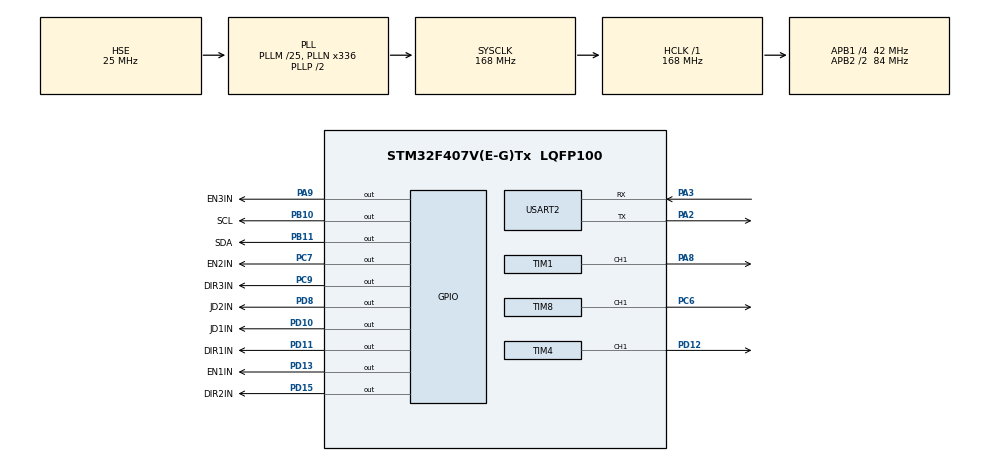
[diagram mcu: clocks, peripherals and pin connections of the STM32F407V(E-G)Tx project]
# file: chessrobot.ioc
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FREERTOS.Tasks01=defaultTask,0,128,StartDefaultTask,Default,NULL,Dynamic,NULL,NULL;OLED_TASK,-2,128,Oled_task,Default,NULL,Dynamic,NULL,NULL;MOTOR_TASK,1,128,Motor_task,Default,NULL,Dynamic,NULL,NULL;SERIAL_TASK,2,128,Serial_task,Default,NULL,Dynamic,NULL,NULL
Mcu.Family=STM32F4
Mcu.Name=STM32F407V(E-G)Tx
Mcu.Package=LQFP100
NVIC.PriorityGroup=NVIC_PRIORITYGROUP_4
NVIC.TIM1_UP_TIM10_IRQn=true\:5\:0\:false\:false\:true\:true\:true\:true\:true
NVIC.TIM4_IRQn=true\:5\:0\:false\:false\:true\:true\:true\:true\:true
NVIC.TIM8_TRG_COM_TIM14_IRQn=true\:5\:0\:false\:false\:true\:false\:false\:true\:true
NVIC.TIM8_UP_TIM13_IRQn=true\:5\:0\:false\:false\:true\:true\:true\:true\:true
NVIC.TimeBase=TIM8_TRG_COM_TIM14_IRQn
NVIC.TimeBaseIP=TIM14
NVIC.USART2_IRQn=true\:5\:0\:false\:false\:true\:true\:true\:true\:true
PA13.Mode=Serial_Wire
PA13.Signal=SYS_JTMS-SWDIO
PA14.Mode=Serial_Wire
PA14.Signal=SYS_JTCK-SWCLK
PA2.Mode=Asynchronous
PA2.Signal=USART2_TX
PA3.Mode=Asynchronous
PA3.Signal=USART2_RX
PA8.Signal=S_TIM1_CH1
PA9.GPIO_Label=EN3IN
PA9.GPIO_Speed=GPIO_SPEED_FREQ_MEDIUM
PA9.Signal=GPIO_Output
PB10.GPIO_Label=SCL
PB10.GPIO_ModeDefaultOutputPP=GPIO_MODE_OUTPUT_OD
PB10.GPIO_PuPd=GPIO_PULLUP
PB10.GPIO_Speed=GPIO_SPEED_FREQ_MEDIUM
PB10.Signal=GPIO_Output
PB11.GPIO_Label=SDA
PB11.GPIO_ModeDefaultOutputPP=GPIO_MODE_OUTPUT_OD
PB11.GPIO_PuPd=GPIO_PULLUP
PB11.GPIO_Speed=GPIO_SPEED_FREQ_MEDIUM
PB11.Signal=GPIO_Output
PC14-OSC32_IN.Mode=LSE-External-Oscillator
PC14-OSC32_IN.Signal=RCC_OSC32_IN
PC15-OSC32_OUT.Mode=LSE-External-Oscillator
PC15-OSC32_OUT.Signal=RCC_OSC32_OUT
PC6.Signal=S_TIM8_CH1
PC7.GPIO_Label=EN2IN
PC7.GPIO_Speed=GPIO_SPEED_FREQ_MEDIUM
PC7.Signal=GPIO_Output
PC9.GPIO_Label=DIR3IN
PC9.GPIO_Speed=GPIO_SPEED_FREQ_MEDIUM
PC9.Signal=GPIO_Output
PD10.GPIO_Label=JD1IN
PD10.Signal=GPIO_Output
PD11.GPIO_Label=DIR1IN
PD11.GPIO_Speed=GPIO_SPEED_FREQ_MEDIUM
PD11.Signal=GPIO_Output
PD12.Signal=S_TIM4_CH1
PD13.GPIO_Label=EN1IN
PD13.GPIO_Speed=GPIO_SPEED_FREQ_MEDIUM
PD13.Signal=GPIO_Output
PD15.GPIO_Label=DIR2IN
PD15.GPIO_Speed=GPIO_SPEED_FREQ_MEDIUM
PD15.Signal=GPIO_Output
PD8.GPIO_Label=JD2IN
PD8.Signal=GPIO_Output
PH0-OSC_IN.Mode=HSE-External-Oscillator
PH0-OSC_IN.Signal=RCC_OSC_IN
PH1-OSC_OUT.Mode=HSE-External-Oscillator
PH1-OSC_OUT.Signal=RCC_OSC_OUT
ProjectManager.HeapSize=0x200
ProjectManager.StackSize=0x400
ProjectManager.TargetToolchain=MDK-ARM V5.32
RCC.48MHZClocksFreq_Value=48000000
RCC.AHBFreq_Value=168000000
RCC.APB1CLKDivider=RCC_HCLK_DIV4
RCC.APB1Freq_Value=42000000
RCC.APB1TimFreq_Value=84000000
RCC.APB2CLKDivider=RCC_HCLK_DIV2
RCC.APB2Freq_Value=84000000
RCC.APB2TimFreq_Value=168000000
RCC.CortexFreq_Value=168000000
RCC.HCLKFreq_Value=168000000
RCC.HSE_VALUE=25000000
RCC.HSI_VALUE=16000000
RCC.PLLM=25
RCC.PLLN=336
RCC.PLLQ=7
RCC.PLLSourceVirtual=RCC_PLLSOURCE_HSE
RCC.SYSCLKFreq_VALUE=168000000
RCC.SYSCLKSource=RCC_SYSCLKSOURCE_PLLCLK
RCC.VCOOutputFreq_Value=336000000
SH.S_TIM1_CH1.0=TIM1_CH1,PWM Generation1 CH1
SH.S_TIM4_CH1.0=TIM4_CH1,PWM Generation1 CH1
SH.S_TIM8_CH1.0=TIM8_CH1,PWM Generation1 CH1
TIM1.AutoReloadPreload=TIM_AUTORELOAD_PRELOAD_ENABLE
TIM1.Channel-PWM\ Generation1\ CH1=TIM_CHANNEL_1
TIM1.Period=10000-1
TIM1.Prescaler=168-1
TIM4.AutoReloadPreload=TIM_AUTORELOAD_PRELOAD_ENABLE
TIM4.Channel-PWM\ Generation1\ CH1=TIM_CHANNEL_1
TIM4.Prescaler=168-1
TIM8.AutoReloadPreload=TIM_AUTORELOAD_PRELOAD_ENABLE
TIM8.Channel-PWM\ Generation1\ CH1=TIM_CHANNEL_1
TIM8.Period=10000-1
TIM8.Prescaler=168-1
USART2.VirtualMode=VM_ASYNC
VP_FREERTOS_VS_CMSIS_V1.Mode=CMSIS_V1
VP_SYS_VS_tim14.Mode=TIM14
VP_TIM1_VS_ClockSourceINT.Mode=Internal
VP_TIM4_VS_ClockSourceINT.Mode=Internal
VP_TIM8_VS_ClockSourceINT.Mode=Internal
board=custom

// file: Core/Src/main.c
/* USER CODE BEGIN Header */
/**
  ******************************************************************************
  * @file           : main.c
  * @brief          : Main program body
  ******************************************************************************
  * @attention
  *
  * Copyright (c) 2025 STMicroelectronics.
  * All rights reserved.
  *
  * This software is licensed under terms that can be found in the LICENSE file
  * in the root directory of this software component.
  * If no LICENSE file comes with this software, it is provided AS-IS.
  *
  ******************************************************************************
  */
/* USER CODE END Header */
#include "main.h"
#include "cmsis_os.h"
#include "tim.h"
#include "usart.h"
#include "gpio.h"

void SystemClock_Config(void);
void MX_FREERTOS_Init(void);

int main(void)
{

  /* MCU Configuration--------------------------------------------------------*/

  /* Reset of all peripherals, Initializes the Flash interface and the Systick. */
  HAL_Init();

  /* Configure the system clock */
  SystemClock_Config();

  /* Initialize all configured peripherals */
  MX_GPIO_Init();
  MX_USART2_UART_Init();
  MX_TIM4_Init();
  MX_TIM1_Init();
  MX_TIM8_Init();
  /* USER CODE BEGIN 2 */
  //HAL_UART_Transmit(&huart2, (uint8_t*)"\x02", 1, HAL_MAX_DELAY);
  // HAL_UART_Receive_IT(&huart2,&rx_buffer,1);
  /* USER CODE END 2 */

  /* Call init function for freertos objects (in cmsis_os2.c) */
  MX_FREERTOS_Init();

  /* Start scheduler */
  osKernelStart();

  /* We should never get here as control is now taken by the scheduler */

  /* Infinite loop */
  while (1)
  {

  }
}

void SystemClock_Config(void)
{
  RCC_OscInitTypeDef RCC_OscInitStruct = {0};
  RCC_ClkInitTypeDef RCC_ClkInitStruct = {0};

  /** Configure the main internal regulator output voltage
  */
  __HAL_RCC_PWR_CLK_ENABLE();
  __HAL_PWR_VOLTAGESCALING_CONFIG(PWR_REGULATOR_VOLTAGE_SCALE1);

  /** Initializes the RCC Oscillators according to the specified parameters
  * in the RCC_OscInitTypeDef structure.
  */
  RCC_OscInitStruct.OscillatorType = RCC_OSCILLATORTYPE_HSE;
  RCC_OscInitStruct.HSEState = RCC_HSE_ON;
  RCC_OscInitStruct.PLL.PLLState = RCC_PLL_ON;
  RCC_OscInitStruct.PLL.PLLSource = RCC_PLLSOURCE_HSE;
  RCC_OscInitStruct.PLL.PLLM = 25;
  RCC_OscInitStruct.PLL.PLLN = 336;
  RCC_OscInitStruct.PLL.PLLP = RCC_PLLP_DIV2;
  RCC_OscInitStruct.PLL.PLLQ = 7;
  if (HAL_RCC_OscConfig(&RCC_OscInitStruct) != HAL_OK)
  {
    Error_Handler();
  }

  /** Initializes the CPU, AHB and APB buses clocks
  */
  RCC_ClkInitStruct.ClockType = RCC_CLOCKTYPE_HCLK|RCC_CLOCKTYPE_SYSCLK
                              |RCC_CLOCKTYPE_PCLK1|RCC_CLOCKTYPE_PCLK2;
  RCC_ClkInitStruct.SYSCLKSource = RCC_SYSCLKSOURCE_PLLCLK;
  RCC_ClkInitStruct.AHBCLKDivider = RCC_SYSCLK_DIV1;
  RCC_ClkInitStruct.APB1CLKDivider = RCC_HCLK_DIV4;
  RCC_ClkInitStruct.APB2CLKDivider = RCC_HCLK_DIV2;

  if (HAL_RCC_ClockConfig(&RCC_ClkInitStruct, FLASH_LATENCY_5) != HAL_OK)
  {
    Error_Handler();
  }
}

void HAL_TIM_PeriodElapsedCallback(TIM_HandleTypeDef *htim)
{
  if (htim->Instance == TIM14)
  {
    HAL_IncTick();
  }
}

void Error_Handler(void)
{
  __disable_irq();
  while (1)
  {
  }
}

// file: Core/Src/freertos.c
/* USER CODE BEGIN Header */
/**
  ******************************************************************************
  * File Name          : freertos.c
  * Description        : Code for freertos applications
  ******************************************************************************
  * @attention
  *
  * Copyright (c) 2025 STMicroelectronics.
  * All rights reserved.
  *
  * This software is licensed under terms that can be found in the LICENSE file
  * in the root directory of this software component.
  * If no LICENSE file comes with this software, it is provided AS-IS.
  *
  ******************************************************************************
  */
/* USER CODE END Header */

#include "FreeRTOS.h"
#include "task.h"
#include "main.h"
#include "cmsis_os.h"

/* USER CODE BEGIN Includes */
#include "H_Oled.h"
#include "tim.h"
#include "usart.h"
/* USER CODE END Includes */

/* USER CODE BEGIN PM */
uint8_t rx_buffer=1;
uint8_t byteNumber=5;
/* USER CODE END PM */

osThreadId defaultTaskHandle;
osThreadId OLED_TASKHandle;
osThreadId MOTOR_TASKHandle;
osThreadId SERIAL_TASKHandle;

void StartDefaultTask(void const * argument);
void Oled_task(void const * argument);
void Motor_task(void const * argument);
void Serial_task(void const * argument);

void MX_FREERTOS_Init(void); /* (MISRA C 2004 rule 8.1) */

/* GetIdleTaskMemory prototype (linked to static allocation support) */
void vApplicationGetIdleTaskMemory( StaticTask_t **ppxIdleTaskTCBBuffer, StackType_t **ppxIdleTaskStackBuffer, uint32_t *pulIdleTaskStackSize );

/* USER CODE BEGIN GET_IDLE_TASK_MEMORY */
static StaticTask_t xIdleTaskTCBBuffer;
static StackType_t xIdleStack[configMINIMAL_STACK_SIZE];

void vApplicationGetIdleTaskMemory( StaticTask_t **ppxIdleTaskTCBBuffer, StackType_t **ppxIdleTaskStackBuffer, uint32_t *pulIdleTaskStackSize )
{
  *ppxIdleTaskTCBBuffer = &xIdleTaskTCBBuffer;
  *ppxIdleTaskStackBuffer = &xIdleStack[0];
  *pulIdleTaskStackSize = configMINIMAL_STACK_SIZE;
  /* place for user code */
}
/* USER CODE END GET_IDLE_TASK_MEMORY */

void MX_FREERTOS_Init(void) {

  /* Create the thread(s) */
  /* definition and creation of defaultTask */
  osThreadDef(defaultTask, StartDefaultTask, osPriorityNormal, 0, 128);
  defaultTaskHandle = osThreadCreate(osThread(defaultTask), NULL);

  /* definition and creation of OLED_TASK */
  osThreadDef(OLED_TASK, Oled_task, osPriorityLow, 0, 128);
  OLED_TASKHandle = osThreadCreate(osThread(OLED_TASK), NULL);

  /* definition and creation of MOTOR_TASK */
  osThreadDef(MOTOR_TASK, Motor_task, osPriorityAboveNormal, 0, 128);
  MOTOR_TASKHandle = osThreadCreate(osThread(MOTOR_TASK), NULL);

  /* definition and creation of SERIAL_TASK */
  osThreadDef(SERIAL_TASK, Serial_task, osPriorityHigh, 0, 128);
  SERIAL_TASKHandle = osThreadCreate(osThread(SERIAL_TASK), NULL);

}

void StartDefaultTask(void const * argument)
{
  for(;;)
  {
    osDelay(1);
  }
}

void Oled_task(void const * argument)
{
  /* USER CODE BEGIN Oled_task */
  OLED_Init();
  OLED_Clear();
  int temp=0;
  /* Infinite loop */
  for(;;)
  {
    temp++;
    OLED_ShowNum(1,1,temp,3);
    osDelay(50);
  }
  /* USER CODE END Oled_task */
}

void Motor_task(void const * argument)
{
  /* USER CODE BEGIN Motor_task */
   //电机一启用方向正
  HAL_GPIO_WritePin(GPIOA,GPIO_PIN_9,GPIO_PIN_SET);
  HAL_GPIO_WritePin(GPIOC,GPIO_PIN_9,GPIO_PIN_RESET);
  //电机二启用方向正
  HAL_GPIO_WritePin(GPIOC,GPIO_PIN_7,GPIO_PIN_SET);
  HAL_GPIO_WritePin(GPIOD,GPIO_PIN_15,GPIO_PIN_RESET);
  //电机三启用方向正
  HAL_GPIO_WritePin(GPIOD,GPIO_PIN_13,GPIO_PIN_SET);
  HAL_GPIO_WritePin(GPIOD,GPIO_PIN_11,GPIO_PIN_RESET);
  __HAL_TIM_SET_COMPARE(&htim4,TIM_CHANNEL_1,5000);
  __HAL_TIM_SET_COMPARE(&htim1,TIM_CHANNEL_1,5000);
  __HAL_TIM_SET_COMPARE(&htim8,TIM_CHANNEL_1,5000);

  HAL_TIM_PWM_Start(&htim4,TIM_CHANNEL_1);
  HAL_TIM_PWM_Start(&htim1,TIM_CHANNEL_1);
  HAL_TIM_PWM_Start(&htim8,TIM_CHANNEL_1);
  /* Infinite loop */
  for(;;)
  {
    osDelay(5);
  }
  /* USER CODE END Motor_task */
}

void Serial_task(void const * argument)
{
  /* USER CODE BEGIN Serial_task */

  //HAL_UART_Receive_IT(&huart2,&rx_buffer,1);
  /* Infinite loop */
  for(;;)
  {
    vTaskSuspendAll();
    //HAL_UART_Transmit(&huart2,&rx_buffer,1,HAL_MAX_DELAY);
    HAL_UART_Transmit(&huart2,&byteNumber,1,HAL_MAX_DELAY);
    xTaskResumeAll();
    osDelay(1000);
  }
  /* USER CODE END Serial_task */
}

/* USER CODE BEGIN Application */
void HAL_UART_RxCpltCallback(UART_HandleTypeDef *huart){
	if(huart==&huart2){
		//HAL_UART_Transmit(&huart2,&rx_buffer,1,HAL_MAX_DELAY);
		HAL_UART_Receive_IT(&huart2,&rx_buffer,1);
	}
}
/* USER CODE END Application */
